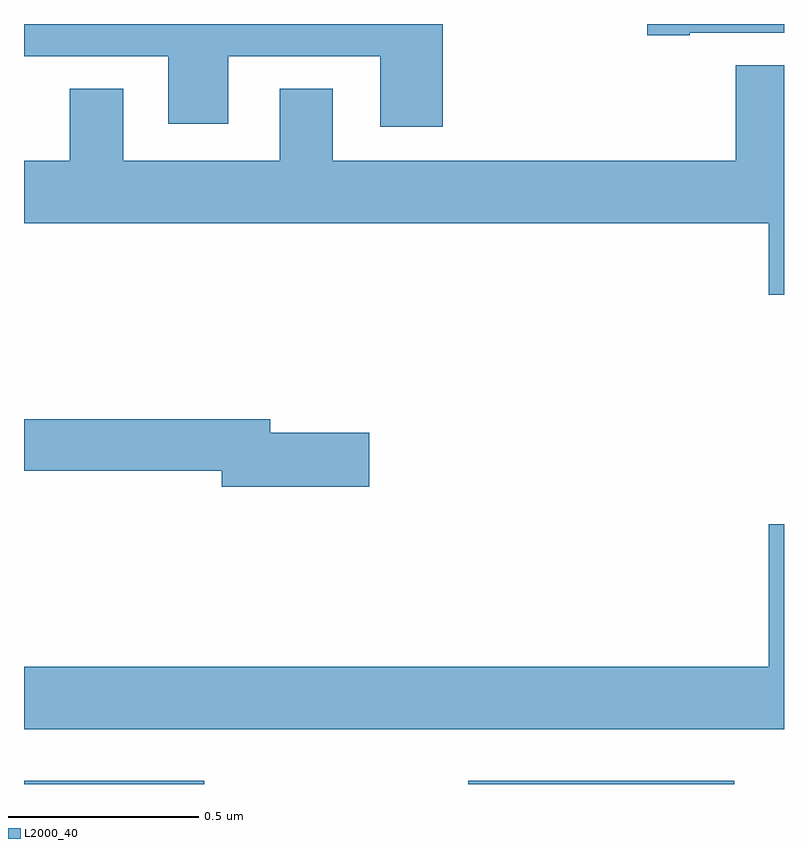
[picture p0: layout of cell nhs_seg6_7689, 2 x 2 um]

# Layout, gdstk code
import gdstk
lib = gdstk.Library(unit=1e-6, precision=1e-09)
def R(c, l, rs):  # rectangles x0, y0, x1, y1
    for r in rs: c.add(gdstk.rectangle(r[:2], r[2:], *l))
def P(c, l, *ps):  # polygons
    for p in ps: c.add(gdstk.Polygon(p, *l))
L2000_40 = (2000, 40)

nhs_seg6_7689 = lib.new_cell('nhs_seg6_7689')
R(nhs_seg6_7689, L2000_40, [(211,972.5,211.474,972.508), (212.169,972.5,212.869,972.508)])
P(nhs_seg6_7689, L2000_40, [(212.752,974.477),(213,974.477),(213,974.5),(212.64,974.5),(212.64,974.47),(212.752,974.47)],
  [(212.102,974.5),(211,974.5),(211,974.415),(211.379,974.415),(211.379,974.237),(211.537,974.237),(211.537,974.415),(211.937,974.415),(211.937,974.229),(212.102,974.229)],
  [(213,974.392),(212.873,974.392),(212.873,974.14),(211.813,974.14),(211.813,974.33),(211.673,974.33),(211.673,974.14),(211.261,974.14),(211.261,974.33),(211.121,974.33),(211.121,974.14),(211,974.14),(211,973.976),(212.96,973.976),(212.96,973.788),(213,973.788)],
  [(211.909,973.424),(211.648,973.424),(211.648,973.46),(211,973.46),(211,973.324),(211.52,973.324),(211.52,973.282),(211.909,973.282)],
  [(213,973.183),(212.96,973.183),(212.96,972.808),(211,972.808),(211,972.644),(213,972.644)])

lib.write_gds('nhs_seg6_7689.gds')
